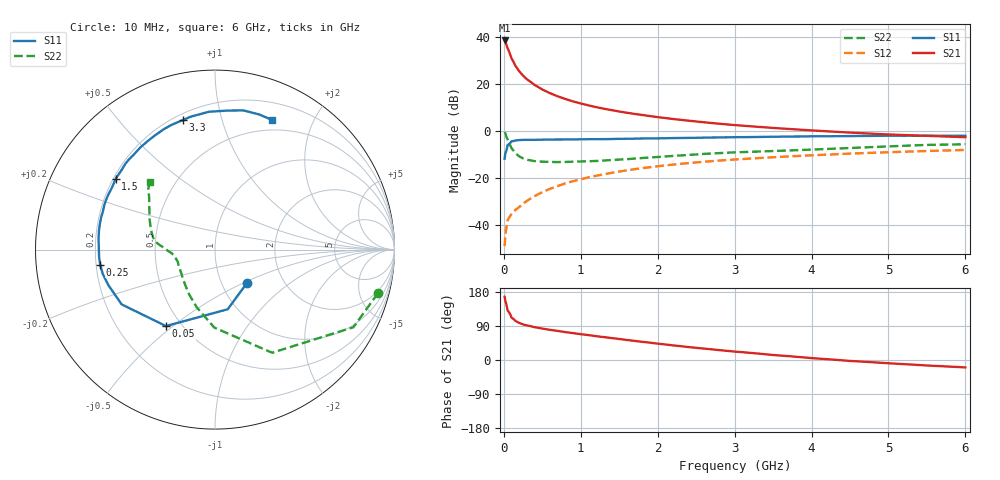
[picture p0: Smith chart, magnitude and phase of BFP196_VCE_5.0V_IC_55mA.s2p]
! (c) 2017  Infineon Technologies AG, Munich
! Infineon Technologies  Discrete & RF Semiconductors
! BFP196
! VCE =  5.0 V,  IC =  55 mA
! Common Emitter S-Parameters:  Jan 2017
# GHz  S  MA  R  50
!  f  S11  S21  S12  S22
! GHz  MAG  ANG  MAG  ANG  MAG  ANG  MAG  ANG
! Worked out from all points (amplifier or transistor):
!   77 points, 10 MHz to 6 GHz, reference 50 ohm
!   highest |S21| = 38.4 dB at 10 MHz (marker M1)
!   |S21| within 3 dB of that: start of sweep to 46.21 MHz
!   unconditionally stable (mu >= 1): 503.5 MHz to 2.474 GHz
!   at 130 MHz: K = 0.65, MSG = 31.6 dB, |S12| = -34.2 dB
!   at 2.2 GHz: K = 1.01, MAG = 9.1 dB, |S12| = -14.3 dB
!   at 6 GHz: K = 0.95, MSG = 2.7 dB, |S12| = -8.1 dB
!   S11 on the Smith chart (normalised r, x): 10 MHz: 1.32, -0.52; 50 MHz: 0.41, -0.47; 250 MHz: 0.22, -0.06; 1.5 GHz: 0.21, +0.31; 3.3 GHz: 0.23, +0.76; 6 GHz: 0.38, +1.46
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0.01  0.2575 -46.2  82.79 166.9  0.0036 75.6  0.9402 -14.9
0.02  0.34 -78.0  78.59 155.3  0.0062 73.4  0.8842 -29.3
0.05  0.5061 -122.7  56.43 130.5  0.0128 57.1  0.657 -61.0
0.1  0.6031 -149.6  34.54 111.8  0.0173 53.8  0.4346 -90.5
0.15  0.626 -161.5  24.13 103.2  0.0211 56.3  0.336 -107.8
0.2  0.6399 -167.8  18.42 97.8  0.0243 58.7  0.2886 -119.9
0.25  0.6451 -172.6  14.85 93.9  0.0289 60.3  0.2615 -128.5
0.3  0.6471 -176.1  12.43 91.2  0.0328 63.2  0.2454 -135.8
0.4  0.6476 178.6  9.416 86.5  0.0415 66.2  0.229 -145.4
0.5  0.652 174.4  7.541 82.9  0.0502 67.0  0.2228 -152.1
0.6  0.655 170.7  6.316 79.6  0.0592 66.9  0.2203 -157.4
0.7  0.6571 167.5  5.418 76.7  0.0676 67.4  0.2183 -161.1
0.9  0.6597 161.2  4.22 70.9  0.086 66.1  0.2227 -166.2
1.1  0.6672 155.3  3.48 65.7  0.1036 64.5  0.2276 -170.2
1.5  0.6798 144.4  2.578 55.5  0.1373 59.6  0.2469 -176.1
2.1  0.6997 128.6  1.874 41.0  0.1854 51.6  0.2874 177.8
2.6  0.7195 117.4  1.526 30.1  0.2216 44.7  0.3256 173.4
3.1  0.7377 107.5  1.293 20.6  0.253 38.0  0.3556 167.6
3.3  0.7439 103.8  1.222 17.1  0.2647 35.5  0.3649 165.0
4.1  0.7695 90.9  1.004 3.6  0.3091 25.7  0.4077 153.5
5.1  0.7908 77.2  0.83 -9.7  0.3578 14.1  0.4765 140.6
6  0.7891 66.2  0.735 -19.6  0.3951 4.1  0.5212 133.8
